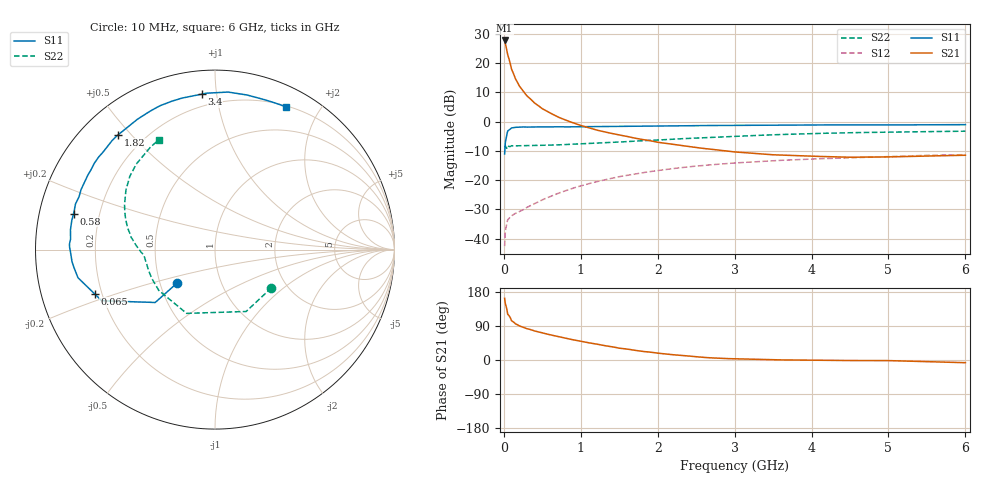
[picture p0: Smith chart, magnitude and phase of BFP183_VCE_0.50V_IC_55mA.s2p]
! Infineon Technologies  Discrete & RF Semiconductors
! BFP183
! VCE = 0.50V,  IC =  55 mA
! Common Emitter S-Parameters:  Jan 2016
# GHz  S  MA  R  50
!  f  S11  S21  S12  S22
! GHz  MAG  ANG  MAG  ANG  MAG  ANG  MAG  ANG
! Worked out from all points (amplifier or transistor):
!   210 points, 10 MHz to 6 GHz, reference 50 ohm
!   highest |S21| = 27.8 dB at 10 MHz (marker M1)
!   |S21| within 3 dB of that: start of sweep to 35.66 MHz
!   unconditionally stable (mu >= 1): start of sweep to 38.77 MHz; 112.6 MHz to end of sweep
!   at 185 MHz: K = 1.34, MAG = 18.5 dB, |S12| = -31.0 dB
!   at 1.52 GHz: K = 2.13, MAG = 1.0 dB, |S12| = -18.7 dB
!   at 6 GHz: K = 1.41, MAG = -3.9 dB, |S12| = -11.3 dB
!   S11 on the Smith chart (normalised r, x): 10 MHz: 0.61, -0.25; 65 MHz: 0.17, -0.17; 580 MHz: 0.10, +0.12; 1.82 GHz: 0.11, +0.46; 3.4 GHz: 0.13, +0.91; 6 GHz: 0.21, +1.60
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0.01  0.2803 -138.6  24.49 162.8  0.0074 57.7  0.3798 -34.1
0.02  0.4449 -138.5  21.96 148.0  0.0136 52.5  0.386 -63.3
0.05  0.6925 -155.7  14.02 121.0  0.0209 38.6  0.3889 -114.0
0.065  0.7147 -159.8  12.1 117.6  0.0219 36.3  0.3773 -122.9
0.1  0.7794 -168.4  7.913 103.6  0.0244 31.7  0.3871 -144.0
0.15  0.7991 -174.7  5.434 95.5  0.027 34.1  0.387 -155.7
0.2  0.8033 -178.3  4.101 90.2  0.0287 37.3  0.3876 -161.7
0.24  0.8105 179.0  3.467 87.0  0.0305 40.1  0.3876 -164.6
0.3  0.8068 175.8  2.761 82.6  0.0341 44.0  0.3883 -167.8
0.4  0.8129 172.2  2.078 76.6  0.0395 49.2  0.3914 -171.1
0.5  0.8142 168.6  1.665 71.5  0.0459 51.4  0.394 -173.1
0.58  0.8131 165.7  1.458 67.6  0.0509 53.2  0.3961 -174.5
0.8  0.8126 158.8  1.063 57.7  0.0657 55.7  0.4049 -176.9
1.02  0.8187 152.1  0.845 48.7  0.0811 55.4  0.4183 -179.3
1.3  0.8267 144.5  0.671 38.2  0.1001 53.8  0.4351 177.8
1.82  0.837 130.3  0.49 22.3  0.1348 48.1  0.4731 171.4
2.02  0.8388 125.2  0.44 17.7  0.1466 45.2  0.4854 168.8
3.1  0.8639 100.4  0.297 2.6  0.1997 29.9  0.5684 152.2
3.4  0.8692 94.9  0.277 1.1  0.2109 25.9  0.5889 147.7
4.1  0.8794 83.9  0.254 -0.7  0.2317 17.2  0.6298 137.9
5.1  0.8794 72.0  0.251 -2.2  0.2543 7.4  0.6633 125.7
6  0.8883 63.5  0.266 -7.1  0.2725 -2.0  0.686 117.3
